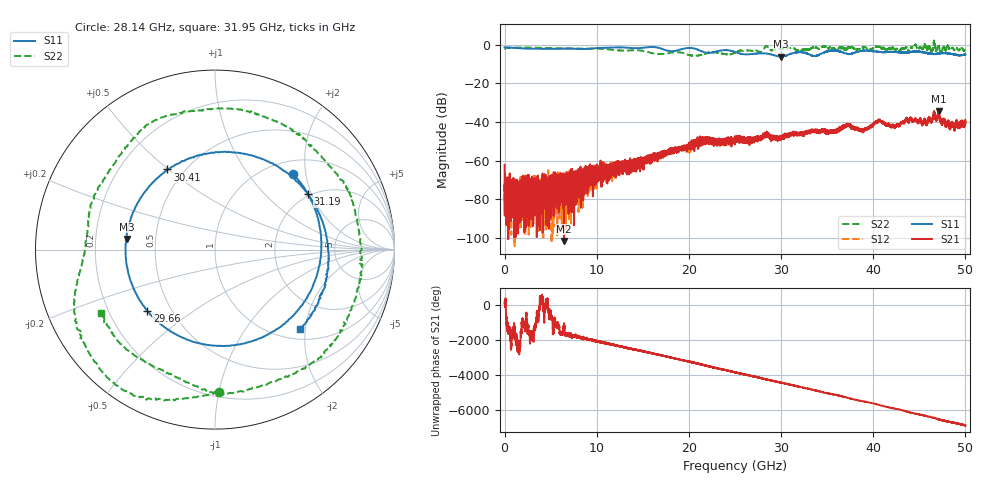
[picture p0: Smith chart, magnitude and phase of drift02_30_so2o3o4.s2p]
!Created with skrf (http://scikit-rf.org).
# Hz S RI R 50.0
!freq ReS11 ImS11 ReS21 ImS21 ReS12 ImS12 ReS22 ImS22
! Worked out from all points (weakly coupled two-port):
!   10001 points, 300 kHz to 50 GHz, reference 50 ohm
!   highest |S21| = -34.28 dB at 47.09 GHz (marker M1); lowest = -101.6 dB at 6.45 GHz (marker M2)
!   lowest |S11| = -6.1 dB at 30.02 GHz (marker M3), VSWR 2.97, Z = 16.9 + j2.66 ohm
!   |S11| at or under -10 dB: nowhere
!   |S22| runs from -5.7 to 2.3 dB; largest |S21 - S12| = 0.0035
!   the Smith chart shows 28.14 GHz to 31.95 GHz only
!   S11 on the Smith chart (normalised r, x): 28.14 GHz: 1.27, +1.70; 29.66 GHz: 0.37, -0.34; 30.41 GHz: 0.41, +0.50; 31.19 GHz: 1.93, +1.88; 31.95 GHz: 1.22, -1.88
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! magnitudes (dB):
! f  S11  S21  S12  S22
! 300 kHz  -1.3  -62.2  -72.1  -2.1
! 300.3 MHz  -1.3  -76.9  -75.6  -1.4
! 3.94 GHz  -2.0  -74.6  -76.6  -1.5
! 6.45 GHz  -1.9  -101.6  -76.1  -1.8
! 8.335 GHz  -2.2  -70.4  -67.2  -1.9
! 16.67 GHz  -1.4  -58.2  -58.0  -4.7
! 21.62 GHz  -3.8  -48.7  -48.1  -4.6
! 25 GHz  -3.7  -49.9  -49.3  -3.9
! 28.14 GHz  -4.3  -47.0  -46.8  -2.0
! 29.66 GHz  -5.9  -48.5  -48.6  -2.1
! 30.02 GHz  -6.1  -48.9  -47.5  -2.0
! 30.41 GHz  -5.7  -47.1  -47.2  -1.8
! 31.19 GHz  -4.4  -46.0  -46.8  -1.7
! 31.95 GHz  -3.7  -45.9  -46.2  -2.8
! 33.34 GHz  -5.5  -45.1  -45.2  -1.5
! 37.27 GHz  -4.7  -41.7  -41.7  -1.6
! 38.87 GHz  -3.1  -44.2  -44.2  -1.4
! 40.6 GHz  -3.6  -39.4  -39.2  -1.0
! 41.67 GHz  -3.6  -41.5  -40.9  -1.8
! 47.09 GHz  -4.5  -34.3  -35.3  0.6
! 48.52 GHz  -4.7  -41.5  -41.1  -1.7
! 50 GHz  -4.9  -40.1  -40.7  -2.7
